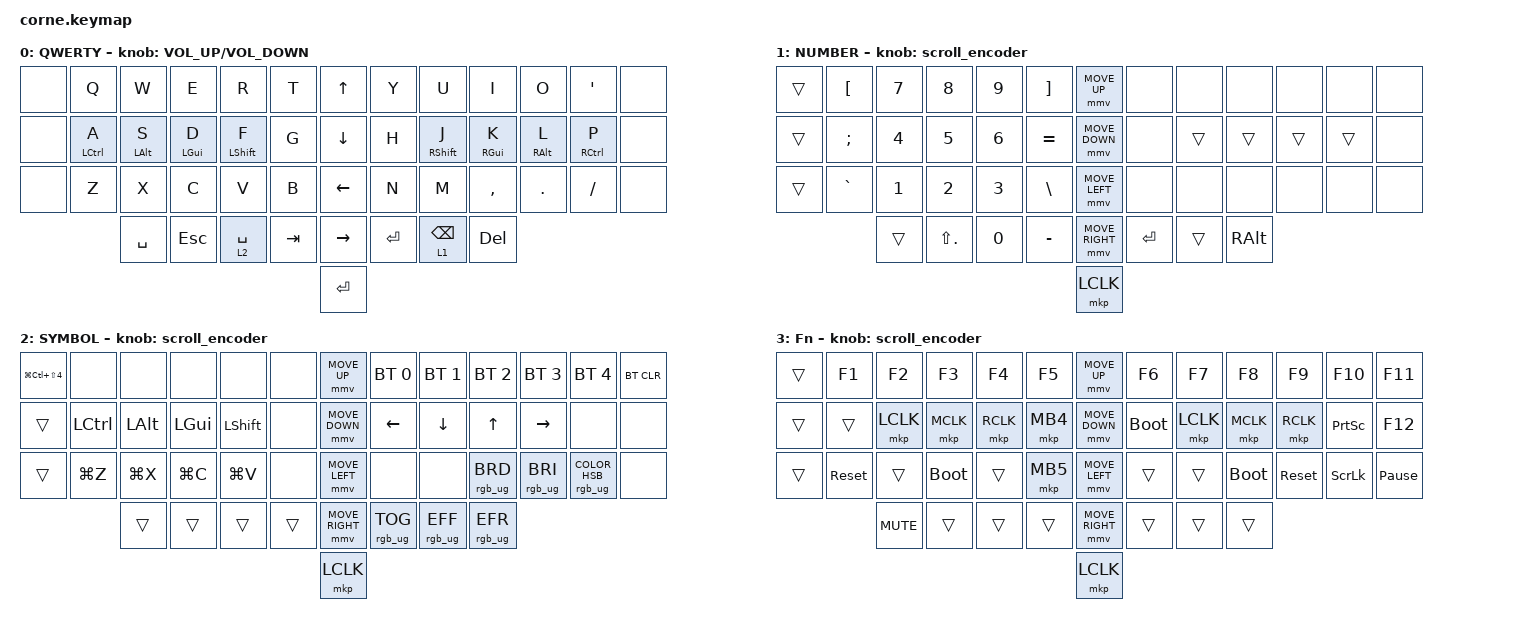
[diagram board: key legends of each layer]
#include <behaviors/mouse_keys.dtsi>
#include <behaviors.dtsi>
#include <dt-bindings/zmk/bt.h>
#include <dt-bindings/zmk/keys.h>
#include <dt-bindings/zmk/mouse.h>
#include <dt-bindings/zmk/outputs.h>
#include <dt-bindings/zmk/rgb.h>

#define ZMK_MOUSE_DEFAULT_MOVE_VAL 1200
#define ZMK_MOUSE_DEFAULT_SCRL_VAL 20
#define U_MS_U &mmv MOVE_UP
#define U_MS_D &mmv MOVE_DOWN
#define U_MS_L &mmv MOVE_LEFT
#define U_MS_R &mmv MOVE_RIGHT

&lt {
    tapping-term-ms = <190>;
    quick-tap-ms = <190>;
};


/ {
    behaviors {
        td0: td0 {
            compatible = "zmk,behavior-tap-dance";
            label = "TD0";
            #binding-cells = <0>;
            bindings = <&kp LEFT_SHIFT>, <&kp CAPS>;
        };

        mmv {
            acceleration-exponent = <1>;      // 1
            time-to-max-speed-ms = <900>;    // 40
            delay-ms = <0>;                   // 0
        };

        msc {
            acceleration-exponent = <1>;      // 0
            time-to-max-speed-ms = <400>;      // 500
            delay-ms = <0>;                   // 10
        };
        // including homerow mods with tap preferred from https://zmk.dev/docs/keymaps/behaviors/hold-tap#option-2-tap-preferred
        hm: homerow_mods {
            compatible = "zmk,behavior-hold-tap";
            #binding-cells = <2>;
            tapping-term-ms = <150>;
            quick-tap-ms = <0>;
            flavor = "tap-preferred";
            bindings = <&kp>, <&kp>;
        };


    };

    rgb_encoder: rgb_encoder {
        compatible = "zmk,behavior-sensor-rotate";
        label = "RGB_ENCODER";
        #sensor-binding-cells = <0>;
        bindings = <&rgb_ug RGB_BRI>, <&rgb_ug RGB_BRD>;
    };

    scroll_encoder: scroll_encoder {
        compatible = "zmk,behavior-sensor-rotate";
        #sensor-binding-cells = <0>;
        bindings = <&msc SCRL_DOWN>, <&msc SCRL_UP>;

        tap-ms = <30>;
    };

    keymap {
        compatible = "zmk,keymap";

        default_layer {
            display-name = "QWERTY";

            // Yisusnotes:
            // take into consideration that the first column of the right side is mapped to the analog stick
            // also the first element of the last left side row is mapped to the knob click
            // --------------------------------------------------------------------------------
            // |  TAB |  Q  |  W  |  E  |  R  |  T  |                ↑    |  Y  |  U   |  I  |  O  |  P  | BKSP |      &kp UP_ARROW 
            // | SHIFT |  A  |  S  |  D  |  F  |  G  |               ↓    |  H  |  J   |  K  |  L  |  ;  |  '   | 
            // | CTRL |  Z  |  X  |  C  |  V  |  B  |                ←    |  N  |  M   |  ,  |  .  |  /  | ESC  |
            //                    | ESC | RSE | TAB |                →    | ENT | LWR  | DEL |
            //                                                      enter

            bindings = <
&none      &kp Q  &kp W      &kp E     &kp R  &kp T          &kp UP_ARROW     &kp Y        &kp U  &kp I      &kp O    &kp SQT   &none
&none      &hm LCTRL A  &hm LALT S     &hm LGUI D &hm LSHFT F  &kp G          &kp DOWN_ARROW   &kp H        &hm RSHFT J  &hm RGUI K      &hm RALT L    &hm RCTRL P     &none
&none      &kp Z  &kp X      &kp C     &kp V  &kp B          &kp LEFT_ARROW   &kp N        &kp M  &kp COMMA  &kp DOT  &kp FSLH  &none
                  &kp SPACE  &kp ESC   &lt 2 SPACE  &kp TAB  &kp RIGHT_ARROW  &kp ENTER    &lt 1 BSPC  &kp DEL
                                                             &kp ENTER
            >;

            label = "QWERTY";
            sensor-bindings = <&inc_dec_kp C_VOLUME_UP C_VOLUME_DOWN>;
        };

        lower_layer {
            display-name = "NUMBER";

            // -----------------------------------------------------------------------------------------
            // |  TAB |  1  |  2  |  3  |  4  |  5  |   |  6  |  7  |  8  |  9  |  0  | BKSP |
            // | BTCLR| BT1 | BT2 | BT3 | BT4 | BT5 |   | LFT | DWN |  UP | RGT |     |      |
            // | SHFT |     |     |     |     |     |   |     |     |     |     |     |      |
            //                    | GUI |     | SPC |   | ENT |     | ALT |

            bindings = <
&trans  &kp LBKT         &kp N7          &kp N8        &kp N9        &kp RBKT           &mmv MOVE_UP     &none            &none            &none            &none            &none     &none
&trans  &kp SEMI         &kp N4          &kp N5        &kp N6        &kp EQUAL          &mmv MOVE_DOWN   &none            &trans           &trans           &trans           &trans    &none
&trans  &kp GRAVE        &kp N1          &kp N2        &kp N3        &kp BSLH           &mmv MOVE_LEFT   &none            &none            &none            &none            &none     &none
                         &trans          &kp LS(PERIOD)  &kp N0      &kp MINUS          &mmv MOVE_RIGHT  &kp ENTER        &trans           &kp RALT
                                                                                        &mkp LCLK
            >;

            label = "NUMBER";
            sensor-bindings = <&scroll_encoder>;
        };

        raise_layer {
            display-name = "SYMBOL";

            // -----------------------------------------------------------------------------------------
            // |  TAB |  !  |  @  |  #  |  $  |  %  |   |  ^  |  &  |  *  |  (  |  )  | BKSP |
            // | CTRL |     |     |     |     |     |   |  -  |  =  |  [  |  ]  |  \  |  `   |
            // | SHFT |     |     |     |     |     |   |  _  |  +  |  {  |  }  | "|" |  ~   |
            //                    | GUI |     | SPC |   | ENT |     | ALT |

            bindings = <
&kp LG(LC(LS(N4)))    &none         &none      &none      &none &none  &mmv MOVE_UP     &bt BT_SEL 0      &bt BT_SEL 1      &bt BT_SEL 2      &bt BT_SEL 3     &bt BT_SEL 4     &bt BT_CLR
&trans  &kp LCTRL     &kp LALT      &kp LGUI   &kp LSHFT  &none        &mmv MOVE_DOWN   &kp LEFT   &kp DOWN   &kp UP     &kp RIGHT &none     &none
&trans  &kp LG(Z)     &kp LG(X)     &kp LG(C)  &kp LG(V)  &none        &mmv MOVE_LEFT   &none      &none      &rgb_ug RGB_BRD      &rgb_ug RGB_BRI &rgb_ug RGB_COLOR_HSB(250,0,0) &none
                      &trans        &trans     &trans     &trans       &mmv MOVE_RIGHT  &rgb_ug RGB_TOG      &rgb_ug RGB_EFF     &rgb_ug RGB_EFR
                                                                       &mkp LCLK
            >;

            label = "SYMBOL";
            sensor-bindings = <&scroll_encoder>;
        };

        layer_3 {
            display-name = "Fn";
            bindings = <
&trans  &kp F1      &kp F2      &kp F3       &kp F4     &kp F5      &mmv MOVE_UP     &kp F6       &kp F7     &kp F8       &kp F9      &kp F10          &kp F11
&trans  &trans      &mkp LCLK   &mkp MCLK    &mkp RCLK  &mkp MB4    &mmv MOVE_DOWN   &bootloader  &mkp LCLK  &mkp MCLK    &mkp RCLK   &kp PRINTSCREEN  &kp F12
&trans  &sys_reset  &trans      &bootloader  &trans     &mkp MB5    &mmv MOVE_LEFT   &trans       &trans     &bootloader  &sys_reset  &kp SCROLLLOCK   &kp PAUSE_BREAK
                    &kp C_MUTE  &trans       &trans     &trans      &mmv MOVE_RIGHT  &trans       &trans     &trans
                                                                    &mkp LCLK
            >;

            label = "FN";
            sensor-bindings = <&scroll_encoder>;
        };
    };
};
